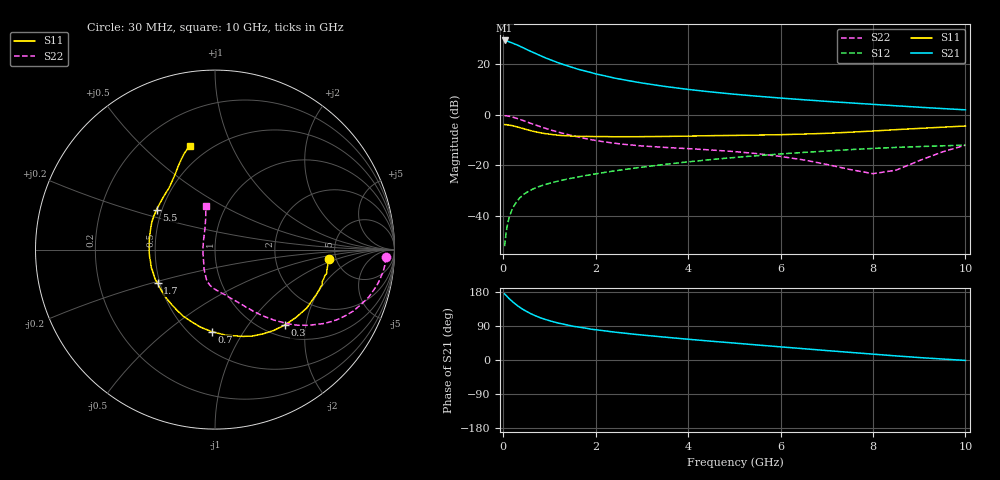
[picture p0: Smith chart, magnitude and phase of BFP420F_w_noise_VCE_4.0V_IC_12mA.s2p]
! Infineon Technologies  Discrete & RF Semiconductors
! BFP420F
! VCE =  4.0 V,  IC =  12 mA
! Common Emitter S-Parameters:  Sep 2011
# GHz  S  MA  R  50
!  f  S11  S21  S12  S22
! GHz  MAG  ANG  MAG  ANG  MAG  ANG  MAG  ANG
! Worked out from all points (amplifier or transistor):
!   54 points, 30 MHz to 10 GHz, reference 50 ohm
!   highest |S21| = 29.4 dB at 30 MHz (marker M1)
!   |S21| within 3 dB of that: start of sweep to 444.9 MHz
!   unconditionally stable (mu >= 1): 1.977 GHz to end of sweep
!   at 120 MHz: K = 0.31, MSG = 35.2 dB, |S12| = -41.4 dB
!   at 1.3 GHz: K = 0.79, MSG = 22.8 dB, |S12| = -25.8 dB
!   at 10 GHz: K = 1.27, MAG = 3.8 dB, |S12| = -12.0 dB
!   lowest NFmin = 1.26 dB at 450 MHz
!   S11 on the Smith chart (normalised r, x): 30 MHz: 4.37, -0.75; 300 MHz: 1.22, -1.53; 700 MHz: 0.64, -0.73; 1.7 GHz: 0.49, -0.21; 5.5 GHz: 0.47, +0.25; 10 GHz: 0.39, +0.71
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0.03  0.6365 -4.6  29.4 174.6  0.0025 62.9  0.9525 -2.5
0.05  0.6341 -7.8  28.96 171.6  0.0037 67.0  0.9514 -4.4
0.07  0.6361 -12.2  28.88 169.6  0.0051 70.1  0.9476 -6.2
0.1  0.6239 -16.8  28.38 165.4  0.0073 73.7  0.9386 -8.8
0.15  0.6156 -24.8  27.18 159.4  0.0106 73.8  0.9199 -13.1
0.25  0.5886 -40.0  24.94 148.9  0.0166 70.6  0.869 -20.6
0.3  0.5726 -47.2  23.97 144.2  0.0196 68.9  0.8427 -24.0
0.35  0.5569 -54.0  22.83 139.8  0.0222 67.2  0.8126 -27.1
0.45  0.5253 -66.4  20.71 131.9  0.0267 64.1  0.7555 -32.3
0.6  0.4809 -82.7  17.79 122.0  0.0323 60.6  0.6715 -38.9
0.7  0.4575 -92.2  16.23 116.5  0.0357 59.1  0.6249 -42.4
0.8  0.4391 -100.8  14.76 111.6  0.0385 57.9  0.581 -45.4
0.9  0.4223 -108.2  13.46 107.5  0.0412 57.2  0.5419 -47.9
1.1  0.3997 -121.6  11.45 100.3  0.0463 56.1  0.4764 -52.5
1.5  0.376 -142.1  8.598 89.3  0.0558 55.4  0.3835 -59.7
1.7  0.3706 -149.6  7.584 85.6  0.0604 55.3  0.3483 -63.1
2.4  0.3654 -169.5  5.318 73.7  0.077 54.6  0.2732 -74.3
3.5  0.3708 170.3  3.617 60.3  0.1039 52.2  0.2249 -88.5
5.5  0.3944 145.6  2.317 39.6  0.1545 43.3  0.1693 -106.8
7  0.4273 127.0  1.832 24.9  0.1908 35.0  0.1038 -126.8
8.5  0.5053 114.1  1.498 10.8  0.2249 25.4  0.0797 144.1
10  0.5967 103.6  1.246 -1.1  0.2499 16.4  0.2495 101.7
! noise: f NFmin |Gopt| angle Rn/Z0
0.45  1.26  0.03  161  0.12
0.9  1.26  0.06  135  0.14
1.9  1.4  0.17  170  0.18
2.4  1.46  0.17  173  0.12
3.5  1.72  0.22  -173  0.16
